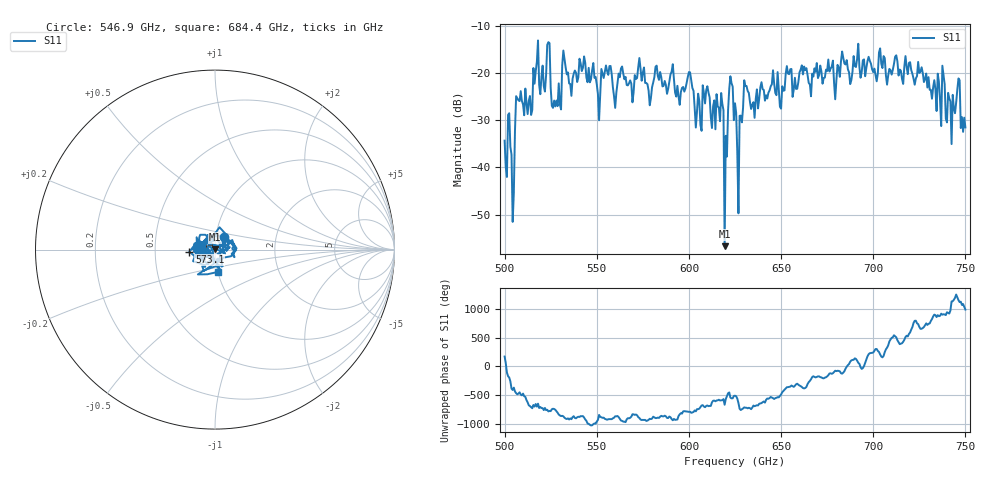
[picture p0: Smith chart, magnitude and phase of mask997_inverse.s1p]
!Created with skrf (http://scikit-rf.org).
# GHz S MA R 50.0
!freq magS11 angS11
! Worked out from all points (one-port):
!   401 points, 500 GHz to 750 GHz, reference 50 ohm
!   lowest |S11| = -56.6 dB at 619.4 GHz (marker M1), VSWR 1.00, Z = 50.1 + j0.121 ohm
!   |S11| at or under -10 dB: start of sweep to end of sweep
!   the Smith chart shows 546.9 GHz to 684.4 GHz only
!   S11 on the Smith chart (normalised r, x): 546.9 GHz: 1.09, +0.16; 573.1 GHz: 0.75, -0.02; 684.4 GHz: 1.01, -0.25
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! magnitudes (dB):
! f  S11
! 500 GHz  -34.3
! 504.4 GHz  -51.5
! 507.5 GHz  -25.8
! 513.8 GHz  -24.9
! 516.9 GHz  -19.7
! 523.8 GHz  -13.5
! 526.9 GHz  -25.9
! 531.2 GHz  -18.4
! 546.9 GHz  -21.4
! 562.5 GHz  -20.9
! 573.1 GHz  -16.9
! 593.8 GHz  -22.7
! 600 GHz  -19.8
! 605 GHz  -24.4
! 617.5 GHz  -24.3
! 619.4 GHz  -56.6
! 620.6 GHz  -37.7
! 622.5 GHz  -20.7
! 625 GHz  -26.4
! 627.5 GHz  -29.1
! 631.2 GHz  -22.8
! 656.2 GHz  -25.1
! 684.4 GHz  -18.0
! 687.5 GHz  -22.4
! 718.8 GHz  -20.3
! 741.2 GHz  -25.4
! 745.6 GHz  -23.5
! 750 GHz  -31.5
